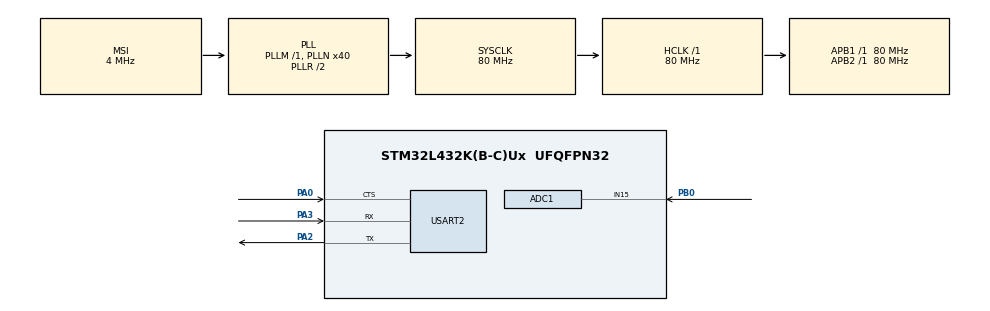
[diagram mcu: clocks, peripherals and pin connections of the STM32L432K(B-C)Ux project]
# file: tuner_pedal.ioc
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ADC1.Channel-3\#ChannelRegularConversion=ADC_CHANNEL_15
ADC1.ClockPrescaler=ADC_CLOCK_SYNC_PCLK_DIV1
ADC1.ContinuousConvMode=DISABLE
ADC1.DMAContinuousRequests=ENABLE
ADC1.ExternalTrigConv=ADC_EXTERNALTRIG_T1_TRGO
ADC1.ExternalTrigConvEdge=ADC_EXTERNALTRIGCONVEDGE_RISINGFALLING
ADC1.NbrOfConversion=1
ADC1.NbrOfConversionFlag=1
ADC1.OffsetNumber-3\#ChannelRegularConversion=ADC_OFFSET_NONE
ADC1.Rank-3\#ChannelRegularConversion=1
ADC1.Resolution=ADC_RESOLUTION_12B
ADC1.SamplingTime-3\#ChannelRegularConversion=ADC_SAMPLETIME_2CYCLES_5
ADC1.master=1
Dma.ADC1.0.Direction=DMA_PERIPH_TO_MEMORY
Dma.ADC1.0.Instance=DMA1_Channel1
Dma.ADC1.0.MemDataAlignment=DMA_MDATAALIGN_HALFWORD
Dma.ADC1.0.MemInc=DMA_MINC_ENABLE
Dma.ADC1.0.Mode=DMA_CIRCULAR
Dma.ADC1.0.PeriphDataAlignment=DMA_PDATAALIGN_HALFWORD
Dma.ADC1.0.PeriphInc=DMA_PINC_DISABLE
Dma.ADC1.0.Priority=DMA_PRIORITY_LOW
Dma.Request0=ADC1
Mcu.Family=STM32L4
Mcu.Name=STM32L432K(B-C)Ux
Mcu.Package=UFQFPN32
NVIC.DMA1_Channel1_IRQn=true\:0\:0\:false\:false\:true\:false\:true\:true
NVIC.PriorityGroup=NVIC_PRIORITYGROUP_4
PA0.Mode=CTS_Only
PA0.Signal=USART2_CTS
PA2.Mode=Asynchronous
PA2.Signal=USART2_TX
PA3.Mode=Asynchronous
PA3.Signal=USART2_RX
PA8.Signal=S_TIM1_CH1
PB0.Signal=ADCx_IN15
ProjectManager.HeapSize=0x200
ProjectManager.StackSize=0x400
ProjectManager.TargetToolchain=STM32CubeIDE
RCC.ADCCLockSelection=RCC_ADCCLKSOURCE_SYSCLK
RCC.ADCFreq_Value=80000000
RCC.AHBFreq_Value=80000000
RCC.APB1Freq_Value=80000000
RCC.APB1TimFreq_Value=80000000
RCC.APB2Freq_Value=80000000
RCC.APB2TimFreq_Value=80000000
RCC.CortexFreq_Value=80000000
RCC.HCLKFreq_Value=80000000
RCC.HSE_VALUE=8000000
RCC.HSI48_VALUE=48000000
RCC.HSI_VALUE=16000000
RCC.LSE_VALUE=32768
RCC.MSI_VALUE=4000000
RCC.PLLN=40
RCC.PLLSAI1N=16
RCC.SYSCLKFreq_VALUE=80000000
RCC.SYSCLKSource=RCC_SYSCLKSOURCE_PLLCLK
RCC.USBFreq_Value=32000000
RCC.VCOOutputFreq_Value=160000000
SH.ADCx_IN15.0=ADC1_IN15,IN15-Single-Ended
SH.S_TIM1_CH1.0=TIM1_CH1
TIM1.Period=40000-1
TIM1.Prescaler=1 - 1
TIM1.TIM_MasterOutputTrigger=TIM_TRGO_UPDATE
TIM1.TIM_MasterOutputTrigger2=TIM_TRGO2_RESET
USART2.VirtualMode-Asynchronous=VM_ASYNC
VP_TIM1_VS_ClockSourceINT.Mode=Internal
board=custom

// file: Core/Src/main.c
/* USER CODE BEGIN Header */
/**
 ******************************************************************************
 * @file           : main.c
 * @brief          : Main program body
 ******************************************************************************
 * @attention
 *
 * Copyright (c) 2024 STMicroelectronics.
 * All rights reserved.
 *
 * This software is licensed under terms that can be found in the LICENSE file
 * in the root directory of this software component.
 * If no LICENSE file comes with this software, it is provided AS-IS.
 *
 ******************************************************************************
 */
/* USER CODE END Header */
/* Includes
 * ------------------------------------------------------------------*/
#include "main.h"

/* Private includes
 * ----------------------------------------------------------*/
/* USER CODE BEGIN Includes */
#define ARM_MATH_CM4
// #include "arm_math.h"
#include <math.h>
#include <stdio.h>
#include <stdlib.h>
#include <string.h>

#include "arm_const_structs.h"
/* USER CODE END Includes */

/* Private typedef
 * -----------------------------------------------------------*/

/* Private define
 * ------------------------------------------------------------*/
/* USER CODE BEGIN PD */
#define FFT_BUFFER_SIZE 2048
#define SAMPLE_RATE 2000.0f // Hz
#define DECIMATION 16
#define FIR_LEN 21
#define BLOCK_SIZE 64
#define A4 440.0f // Hz
#define NOTE_RATIO 1.05946309436f
/* USER CODE END PD */

/* Private macro
 * -------------------------------------------------------------*/

/* Private variables
 * ---------------------------------------------------------*/
ADC_HandleTypeDef hadc1;
DMA_HandleTypeDef hdma_adc1;

TIM_HandleTypeDef htim1;

UART_HandleTypeDef huart2;

/* USER CODE BEGIN PV */

arm_rfft_fast_instance_f32 fftHandler;
arm_cfft_instance_f32 zoomFftHandler;
uint16_t inputArr[2 * FFT_BUFFER_SIZE];

float32_t firArr[FIR_LEN] = {
    -0.0026012824532543164, -0.0033000391283683167, -0.004010081650667714,
    -0.0019592148837829122, 0.006662701906228264,   0.024831690243449004,
    0.052737841736489564,   0.0867532118751942,     0.11997490001564744,
    0.1442961800416668,     0.153228184594796,      0.1442961800416668,
    0.11997490001564744,    0.0867532118751942,     0.052737841736489564,
    0.024831690243449004,   0.006662701906228264,   -0.0019592148837829122,
    -0.004010081650667714,  -0.0033000391283683167, -0.0026012824532543164};
arm_fir_instance_f32 firHandler;
float32_t stateArr[FIR_LEN + BLOCK_SIZE - 1];

/* USER CODE END PV */

/* Private function prototypes
 * -----------------------------------------------*/
void SystemClock_Config(void);
static void MX_GPIO_Init(void);
static void MX_DMA_Init(void);
static void MX_ADC1_Init(void);
static void MX_USART2_UART_Init(void);
static void MX_TIM1_Init(void);

/* Private user code
 * ---------------------------------------------------------*/
/* USER CODE BEGIN 0 */

// used to set a delay that is more accurate than HAL_Delay
// the max delay is 819.2us using 80MHz clock
void delay(float32_t us) {
    uint16_t ticks = (uint16_t)(roundf(us * 80));
    uint16_t start_time = __HAL_TIM_GET_COUNTER(&htim1);
    while (__HAL_TIM_GET_COUNTER(&htim1) - start_time < ticks)
        ;
}

// prints string to UART pin
void print(char msg[]) {
    HAL_UART_Transmit(&huart2, msg, strlen(msg), HAL_MAX_DELAY);
}

/*
 * This function gets the general frequency of a signal
 * but keeps the input array untouched.
 */
float32_t get_rfft_freq(uint16_t *arr) {
    float32_t fftBufOut[FFT_BUFFER_SIZE];
    float32_t fftBufIn[FFT_BUFFER_SIZE];

    for (size_t i = 0; i < FFT_BUFFER_SIZE; ++i) {
        fftBufIn[i] = (float32_t)arr[i] - 2048; // set range to -2048 to +2047
    }

    arm_rfft_fast_f32(&fftHandler, fftBufIn, fftBufOut, 0);

    size_t largest_index = 0;
    float32_t largest_val = 0;

    // We'll ignore 0Hz and fs/2 for now which are stored
    // in fftBufOut[0] and fftBufOut[1] respectively
    for (size_t i = 1; i < FFT_BUFFER_SIZE / 2; ++i) {
        float32_t cur_val = fftBufOut[2 * i] * fftBufOut[2 * i] +
                            fftBufOut[2 * i + 1] * fftBufOut[2 * i + 1];
        if (cur_val > largest_val) {
            largest_index = i;
            largest_val = cur_val;
        }
    }

    return (float32_t)largest_index * SAMPLE_RATE / FFT_BUFFER_SIZE;
}

/*
 * translates `arr` in the frequency domain so `f_0` is
 * the new DC frequency (0Hz). Down samples by `DECIMATION`, and
 * filters the new array with a low pass filter with a cutofff
 * frequency of 150Hz
 */
void create_zoom_arr(float32_t *outArr, uint16_t *inArr, float32_t f_0) {
    float32_t input[FFT_BUFFER_SIZE] = {0};
    float32_t dest[FFT_BUFFER_SIZE] = {0};
    memset(outArr, 0, 2 * FFT_BUFFER_SIZE * sizeof(float32_t));

    // Real part
    // Shift in frequency domain
    for (size_t i = 0; i < FFT_BUFFER_SIZE; ++i) {
        input[i] = ((float32_t)inArr[i] - 2048) *
                   arm_cos_f32((float32_t)(2 * PI * f_0 * i / SAMPLE_RATE));
    }

    // Apply FIR low-pass filter
    for (size_t i = 0; i < FFT_BUFFER_SIZE; i += BLOCK_SIZE) {
        arm_fir_f32(&firHandler, &(input[i]), &(dest[i]), BLOCK_SIZE);
    }

    // Down sample by `DECIMATION/4`
    for (size_t i = 0; i < FFT_BUFFER_SIZE / DECIMATION * 4; ++i) {
        dest[i] = dest[i * DECIMATION / 4];
    }
    memset(&(dest[FFT_BUFFER_SIZE / DECIMATION * 4]), 0,
           (FFT_BUFFER_SIZE - FFT_BUFFER_SIZE / DECIMATION * 4) *
               sizeof(float32_t));

    // Apply FIR low-pass filter
    for (size_t i = 0; i < FFT_BUFFER_SIZE; i += BLOCK_SIZE) {
        arm_fir_f32(&firHandler, &(dest[i]), &(input[i]), BLOCK_SIZE);
    }

    // Save real part while decimating by another factor of `DECIMATION/4`
    for (size_t i = 0; i < FFT_BUFFER_SIZE / DECIMATION; ++i) {
        outArr[2 * i] = input[i * DECIMATION / 4];
    }

    // Imaginary part
    // Shift in frequency domain
    for (size_t i = 0; i < FFT_BUFFER_SIZE; ++i) {
        input[i] = -((float32_t)inArr[i] - 2048) *
                   arm_sin_f32((float32_t)(2 * PI * f_0 * i / SAMPLE_RATE));
    }

    // Apply FIR low-pass filter
    for (size_t i = 0; i < FFT_BUFFER_SIZE; i += BLOCK_SIZE) {
        arm_fir_f32(&firHandler, &(input[i]), &(dest[i]), BLOCK_SIZE);
    }

    // Down sample by `DECIMATION/4`
    for (size_t i = 0; i < FFT_BUFFER_SIZE / DECIMATION * 4; ++i) {
        dest[i] = dest[i * DECIMATION / 4];
    }
    memset(&(dest[FFT_BUFFER_SIZE / DECIMATION * 4]), 0,
           (FFT_BUFFER_SIZE - FFT_BUFFER_SIZE / DECIMATION * 4) *
               sizeof(float32_t));

    // Apply FIR low-pass filter
    for (size_t i = 0; i < FFT_BUFFER_SIZE; i += BLOCK_SIZE) {
        arm_fir_f32(&firHandler, &(dest[i]), &(input[i]), BLOCK_SIZE);
    }

    // Save imag part while decimating by another factor of `DECIMATION/4`
    for (size_t i = 0; i < FFT_BUFFER_SIZE / DECIMATION; ++i) {
        outArr[2 * i + 1] = input[i * DECIMATION / 4];
    }
}

float32_t get_zoom_freq(float32_t *zoomArr, float32_t f_0) {
    arm_cfft_f32(&zoomFftHandler, zoomArr, 0, 1);

    size_t largest_index = 0;
    float32_t largest_val = 0;

    for (size_t i = 0; i < FFT_BUFFER_SIZE; ++i) {
        float32_t cur_val = zoomArr[2 * i] * zoomArr[2 * i] +
                            zoomArr[2 * i + 1] * zoomArr[2 * i + 1];
        if (cur_val > largest_val) {
            largest_index = i;
            largest_val = cur_val;
        }
    }

    float32_t zoom_freq;
    if (largest_index <= FFT_BUFFER_SIZE / 2) {
        zoom_freq = (float32_t)largest_index * SAMPLE_RATE / FFT_BUFFER_SIZE /
                        DECIMATION +
                    f_0;
    } else {
        zoom_freq = ((float32_t)largest_index - FFT_BUFFER_SIZE) * SAMPLE_RATE /
                        FFT_BUFFER_SIZE / DECIMATION +
                    f_0;
    }

    return 0.987880793f * zoom_freq -
           0.00077004f; // Little term adjustment using LINEST correction

    /*
    Without term correction the below table shows the value discrepancy

    Actual	Calc
    40	    40.47
    50	    50.66
    60	    60.73
    70	    70.86
    80	    80.99
    90	    91.06
    100	    101.26
    150	    151.86
    200	    202.45
    250	    252.99
    300	    303.71
    400	    404.85
    500	    506.29
    600	    607.3
    650	    657.96

    Actual = (0.987880793 +/- 7.3131E-05) * Calc - 0.00077 +/- 0.022973443
    */
}

/*
 * Given a frequency `freq` the function will find the closest
 * note and return the note as well as the cents off in `buf`.
 *
 * Ensure that `buf` is able to store the value.
 */
void get_note(float32_t freq, char *buf) {
    float32_t noteExp = 12.0f * log2f(freq / A4);
    int16_t closestNote = (int16_t)(roundf(noteExp));
    float32_t cents = (noteExp - (float32_t)closestNote) * 100.0f;

    switch (closestNote % 12) {
    case 0:
        sprintf(buf, "A + %f cts", cents);
        break;
    case -11:
    case 1:
        sprintf(buf, "A# + %f cts", cents);
        break;
    case -10:
    case 2:
        sprintf(buf, "B + %f cts", cents);
        break;
    case -9:
    case 3:
        sprintf(buf, "C + %f cts", cents);
        break;
    case -8:
    case 4:
        sprintf(buf, "C# + %f cts", cents);
        break;
    case -7:
    case 5:
        sprintf(buf, "D + %f cts", cents);
        break;
    case -6:
    case 6:
        sprintf(buf, "D# + %f cts", cents);
        break;
    case -5:
    case 7:
        sprintf(buf, "E + %f cts", cents);
        break;
    case -4:
    case 8:
        sprintf(buf, "F + %f cts", cents);
        break;
    case -3:
    case 9:
        sprintf(buf, "F# + %f cts", cents);
        break;
    case -2:
    case 10:
        sprintf(buf, "G + %f cts", cents);
        break;
    case -1:
    case 11:
        sprintf(buf, "G# + %f cts", cents);
        break;
    default:
        sprintf(buf, "shouldnt be here");
        break;
    }
}
/* USER CODE END 0 */

int main(void) {

    /* MCU
     * Configuration--------------------------------------------------------*/

    /* Reset of all peripherals, Initializes the Flash interface and the
     * Systick.
     */
    HAL_Init();

    /* Configure the system clock */
    SystemClock_Config();

    /* Initialize all configured peripherals */
    MX_GPIO_Init();
    MX_DMA_Init();
    MX_ADC1_Init();
    MX_USART2_UART_Init();
    MX_TIM1_Init();

    /* Infinite loop */
    /* USER CODE BEGIN WHILE */
    print("starting ADC reading...\r\n");
    HAL_TIM_Base_Start(&htim1);

    arm_rfft_fast_init_f32(&fftHandler, FFT_BUFFER_SIZE);
    zoomFftHandler = arm_cfft_sR_f32_len2048;
    arm_fir_init_f32(&firHandler, FIR_LEN, firArr, stateArr, BLOCK_SIZE);

    HAL_ADCEx_Calibration_Start(&hadc1, ADC_SINGLE_ENDED);

    HAL_ADC_Start_DMA(&hadc1, (uint32_t *)inputArr, 2 * FFT_BUFFER_SIZE);
    while (1) {
        /* USER CODE END WHILE */

        /* USER CODE BEGIN 3 */
        print("Reading in data...\r\n");
        HAL_Delay(1000);
    }
    /* USER CODE END 3 */
}

void SystemClock_Config(void) {
    RCC_OscInitTypeDef RCC_OscInitStruct = {0};
    RCC_ClkInitTypeDef RCC_ClkInitStruct = {0};

    /** Configure the main internal regulator output voltage
     */
    if (HAL_PWREx_ControlVoltageScaling(PWR_REGULATOR_VOLTAGE_SCALE1) !=
        HAL_OK) {
        Error_Handler();
    }

    /** Initializes the RCC Oscillators according to the specified parameters
     * in the RCC_OscInitTypeDef structure.
     */
    RCC_OscInitStruct.OscillatorType = RCC_OSCILLATORTYPE_MSI;
    RCC_OscInitStruct.MSIState = RCC_MSI_ON;
    RCC_OscInitStruct.MSICalibrationValue = 0;
    RCC_OscInitStruct.MSIClockRange = RCC_MSIRANGE_6;
    RCC_OscInitStruct.PLL.PLLState = RCC_PLL_ON;
    RCC_OscInitStruct.PLL.PLLSource = RCC_PLLSOURCE_MSI;
    RCC_OscInitStruct.PLL.PLLM = 1;
    RCC_OscInitStruct.PLL.PLLN = 40;
    RCC_OscInitStruct.PLL.PLLP = RCC_PLLP_DIV7;
    RCC_OscInitStruct.PLL.PLLQ = RCC_PLLQ_DIV2;
    RCC_OscInitStruct.PLL.PLLR = RCC_PLLR_DIV2;
    if (HAL_RCC_OscConfig(&RCC_OscInitStruct) != HAL_OK) {
        Error_Handler();
    }

    /** Initializes the CPU, AHB and APB buses clocks
     */
    RCC_ClkInitStruct.ClockType = RCC_CLOCKTYPE_HCLK | RCC_CLOCKTYPE_SYSCLK |
                                  RCC_CLOCKTYPE_PCLK1 | RCC_CLOCKTYPE_PCLK2;
    RCC_ClkInitStruct.SYSCLKSource = RCC_SYSCLKSOURCE_PLLCLK;
    RCC_ClkInitStruct.AHBCLKDivider = RCC_SYSCLK_DIV1;
    RCC_ClkInitStruct.APB1CLKDivider = RCC_HCLK_DIV1;
    RCC_ClkInitStruct.APB2CLKDivider = RCC_HCLK_DIV1;

    if (HAL_RCC_ClockConfig(&RCC_ClkInitStruct, FLASH_LATENCY_4) != HAL_OK) {
        Error_Handler();
    }
}

static void MX_ADC1_Init(void) {

    ADC_ChannelConfTypeDef sConfig = {0};

    /** Common config
     */
    hadc1.Instance = ADC1;
    hadc1.Init.ClockPrescaler = ADC_CLOCK_SYNC_PCLK_DIV1;
    hadc1.Init.Resolution = ADC_RESOLUTION_12B;
    hadc1.Init.DataAlign = ADC_DATAALIGN_RIGHT;
    hadc1.Init.ScanConvMode = ADC_SCAN_DISABLE;
    hadc1.Init.EOCSelection = ADC_EOC_SINGLE_CONV;
    hadc1.Init.LowPowerAutoWait = DISABLE;
    hadc1.Init.ContinuousConvMode = DISABLE;
    hadc1.Init.NbrOfConversion = 1;
    hadc1.Init.DiscontinuousConvMode = DISABLE;
    hadc1.Init.ExternalTrigConv = ADC_EXTERNALTRIG_T1_TRGO;
    hadc1.Init.ExternalTrigConvEdge = ADC_EXTERNALTRIGCONVEDGE_RISINGFALLING;
    hadc1.Init.DMAContinuousRequests = ENABLE;
    hadc1.Init.Overrun = ADC_OVR_DATA_PRESERVED;
    hadc1.Init.OversamplingMode = DISABLE;
    if (HAL_ADC_Init(&hadc1) != HAL_OK) {
        Error_Handler();
    }

    /** Configure Regular Channel
     */
    sConfig.Channel = ADC_CHANNEL_15;
    sConfig.Rank = ADC_REGULAR_RANK_1;
    sConfig.SamplingTime = ADC_SAMPLETIME_2CYCLES_5;
    sConfig.SingleDiff = ADC_SINGLE_ENDED;
    sConfig.OffsetNumber = ADC_OFFSET_NONE;
    sConfig.Offset = 0;
    if (HAL_ADC_ConfigChannel(&hadc1, &sConfig) != HAL_OK) {
        Error_Handler();
    }
}

static void MX_TIM1_Init(void) {

    TIM_ClockConfigTypeDef sClockSourceConfig = {0};
    TIM_MasterConfigTypeDef sMasterConfig = {0};

    htim1.Instance = TIM1;
    htim1.Init.Prescaler = 1 - 1;
    htim1.Init.CounterMode = TIM_COUNTERMODE_UP;
    htim1.Init.Period = 40000 - 1;
    htim1.Init.ClockDivision = TIM_CLOCKDIVISION_DIV1;
    htim1.Init.RepetitionCounter = 0;
    htim1.Init.AutoReloadPreload = TIM_AUTORELOAD_PRELOAD_DISABLE;
    if (HAL_TIM_Base_Init(&htim1) != HAL_OK) {
        Error_Handler();
    }
    sClockSourceConfig.ClockSource = TIM_CLOCKSOURCE_INTERNAL;
    if (HAL_TIM_ConfigClockSource(&htim1, &sClockSourceConfig) != HAL_OK) {
        Error_Handler();
    }
    sMasterConfig.MasterOutputTrigger = TIM_TRGO_UPDATE;
    sMasterConfig.MasterOutputTrigger2 = TIM_TRGO2_RESET;
    sMasterConfig.MasterSlaveMode = TIM_MASTERSLAVEMODE_DISABLE;
    if (HAL_TIMEx_MasterConfigSynchronization(&htim1, &sMasterConfig) !=
        HAL_OK) {
        Error_Handler();
    }
}

static void MX_USART2_UART_Init(void) {

    huart2.Instance = USART2;
    huart2.Init.BaudRate = 115200;
    huart2.Init.WordLength = UART_WORDLENGTH_8B;
    huart2.Init.StopBits = UART_STOPBITS_1;
    huart2.Init.Parity = UART_PARITY_NONE;
    huart2.Init.Mode = UART_MODE_TX_RX;
    huart2.Init.HwFlowCtl = UART_HWCONTROL_CTS;
    huart2.Init.OverSampling = UART_OVERSAMPLING_16;
    huart2.Init.OneBitSampling = UART_ONE_BIT_SAMPLE_DISABLE;
    huart2.AdvancedInit.AdvFeatureInit = UART_ADVFEATURE_NO_INIT;
    if (HAL_UART_Init(&huart2) != HAL_OK) {
        Error_Handler();
    }
}

static void MX_DMA_Init(void) {
    /* DMA controller clock enable */
    __HAL_RCC_DMA1_CLK_ENABLE();

    /* DMA interrupt init */
    /* DMA1_Channel1_IRQn interrupt configuration */
    HAL_NVIC_SetPriority(DMA1_Channel1_IRQn, 0, 0);
    HAL_NVIC_EnableIRQ(DMA1_Channel1_IRQn);
}

static void MX_GPIO_Init(void) {

    /* GPIO Ports Clock Enable */
    __HAL_RCC_GPIOA_CLK_ENABLE();
    __HAL_RCC_GPIOB_CLK_ENABLE();

}

/* USER CODE BEGIN 4 */

void HAL_ADC_ConvHalfCpltCallback(ADC_HandleTypeDef *hadc) {
    float32_t f_0 = get_rfft_freq(inputArr);
    float32_t zoomArr[FFT_BUFFER_SIZE * 2] = {0};

    create_zoom_arr(zoomArr, inputArr, f_0);

    float32_t zoomFreq = get_zoom_freq(zoomArr, f_0);

    char output[32];
    sprintf(output, "0.5) %f\r\n", f_0);
    print(output);

    sprintf(output, "0.5) %f\r\n", zoomFreq);
    print(output);

    get_note(zoomFreq, output);
    print(output);
    print("\r\n");
}
void HAL_ADC_ConvCpltCallback(ADC_HandleTypeDef *hadc) {
    float32_t f_0 = get_rfft_freq(&(inputArr[FFT_BUFFER_SIZE]));
    float32_t zoomArr[FFT_BUFFER_SIZE * 2] = {0};

    create_zoom_arr(zoomArr, &(inputArr[FFT_BUFFER_SIZE]), f_0);

    float32_t zoomFreq = get_zoom_freq(zoomArr, f_0);

    char output[32];
    sprintf(output, "1) %f\r\n", f_0);
    print(output);

    sprintf(output, "1) %f\r\n", zoomFreq);
    print(output);

    get_note(zoomFreq, output);
    print(output);
    print("\r\n");
}
/* USER CODE END 4 */

void Error_Handler(void) {
    /* USER CODE BEGIN Error_Handler_Debug */
    /* User can add his own implementation to report the HAL error return state
     */
    __disable_irq();
    while (1) {
    }
    /* USER CODE END Error_Handler_Debug */
}

#ifdef USE_FULL_ASSERT
/**
 * @brief  Reports the name of the source file and the source line number
 *         where the assert_param error has occurred.
 * @param  file: pointer to the source file name
 * @param  line: assert_param error line source number
 * @retval None
 */
void assert_failed(uint8_t *file, uint32_t line) {
    /* USER CODE BEGIN 6 */
    /* User can add his own implementation to report the file name and line
           number, ex: printf("Wrong parameters value: file %s on line %d\r\n",
       file, line) */
    /* USER CODE END 6 */
}
#endif /* USE_FULL_ASSERT */
